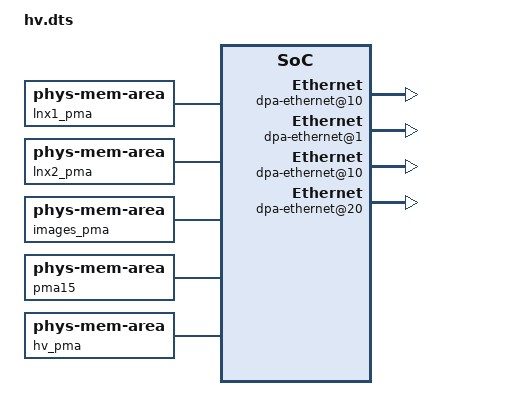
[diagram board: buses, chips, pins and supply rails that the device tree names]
/* Hypervisor Configuration tree containing all hypervisor configuration
 * parameters and partition definition information.
 * (Note -- Please refer to Hypervisor SW Reference Manual
 * (Chapter 5 Configuration) for further details)
 *
 * Copyright 2011 Freescale Semiconductor, Inc.
 */

/dts-v1/;

/ {	// root node

	// The root node of the configuration device tree must contain a
	// compatible property that identifies the device tree as a hypervisor

	compatible = "fsl,hv-config";

	// =====================================================
	// Physical Memory Areas
	// =====================================================
	lnx1_pma: lnx1_pma {
		compatible = "phys-mem-area";
		addr = <0x0 0x00000000>;	// Linux
		size = <0x0 0x40000000>;	// 1GB
	};

	lnx2_pma: lnx2_pma {
		compatible = "phys-mem-area";
		addr = <0x0 0x40000000>;	// Linux
		size = <0x0 0x20000000>;	// 512MB
	};

	images_pma: images_pma {
		compatible = "phys-mem-area";
		addr = <0x0 0x78000000>;	// Used for boot-from-RAM
		size = <0x0 0x04000000>;	// 64MB
	};

	pma15: pma15 {
		compatible = "phys-mem-area";
		addr = <0x0 0x7c000000>;	// For MAC-less Ethernet Linux1 and Linux2
		size = <0x0 0x01000000>;	// 16MB
	};

	hv_pma: hv_pma {
		compatible = "phys-mem-area";
		addr = <0x0 0x7f000000>;	// Hypervisor
		size = <0x0 0x01000000>;	// 16MB
	};

	// =====================================================
	// DMA Windows
	// =====================================================
	dma-windows {
		// DMA window for part1_linux
		dw_linux1: dw_linux1 {
			compatible = "dma-window";
			guest-addr = <0 0>;
			size = <0x1 0x00000000>; // 4GB
			subwindow-count = <4>;

			sub-window@0 {
				compatible = "dma-subwindow";
				guest-addr = <0 0>;
				size = <0 0x40000000>; // 1GB
			};

			// ====================================================
			// The window is used for MSIIR translation. The
			// hypervisor sets  a property in the guest device tree
			// (msi-address-64) which indicates the guest physical
			// address of the MSIIR register.
			// This address must be in the next page after the end
			// of DDR as seen by the guest. This is because, Linux
			// is extending the DDR ATMU with one page in order to
			// cover the MSIIR register.
			// ====================================================
			sub-window@1 {		// MSI sub-window
				compatible = "dma-subwindow";
				guest-addr = <0 0x40000000>;
				size = <0 0x1000>; // 4KB
				pcie-msi-subwindow;
			};

			sub-window@2 {		// Inter-partition region
				compatible = "dma-subwindow";
				guest-addr = <0 0x80000000>;
				size = <0 0x1000000>; // 16MB
			};
		};

		// DMA window for part2_linux
		dw_linux2: dw_linux2 {
			compatible = "dma-window";
			guest-addr = <0 0>;
			size = <0x1 0x00000000>; // 4GB
			subwindow-count = <4>;

			sub-window@0 {
				compatible = "dma-subwindow";
				guest-addr = <0 0>;
				size = <0 0x20000000>; // 512MB
			};

			sub-window@1 {		// Inter-partition region
				compatible = "dma-subwindow";
				guest-addr = <0 0x80000000>;
				size = <0 0x1000000>; // 16MB
			};
		};

		// DMA window for stash_dqrr for qman-portal0
		dw_dqrr_qportal0: window3 {
			compatible = "dma-window";
			guest-addr = <0xf 0xf4200000>;
			size = <0 0x4000>;
		};

		// DMA window for stash_dqrr for qman-portal1
		dw_dqrr_qportal1: window4 {
			compatible = "dma-window";
			guest-addr = <0xf 0xf4204000>;
			size = <0 0x4000>;
		};

		// DMA window for stash_dqrr for qman-portal2
		dw_dqrr_qportal2: window5 {
			compatible = "dma-window";
			guest-addr = <0xf 0xf4208000>;
			size = <0 0x4000>;
		};

		// DMA window for stash_dqrr for qman-portal3
		dw_dqrr_qportal3: window6 {
			compatible = "dma-window";
			guest-addr = <0xf 0xf420c000>;
			size = <0 0x4000>;
		};

		// DMA window for stash_dqrr for qman-portal4
		dw_dqrr_qportal4: window7 {
			compatible = "dma-window";
			guest-addr = <0xf 0xf4210000>;
			size = <0 0x4000>;
		};

		// DMA window for stash_dqrr for qman-portal5
		dw_dqrr_qportal5: window8 {
			compatible = "dma-window";
			guest-addr = <0xf 0xf4214000>;
			size = <0 0x4000>;
		};

		// DMA window for stash_dqrr for qman-portal6
		dw_dqrr_qportal6: window9 {
			compatible = "dma-window";
			guest-addr = <0xf 0xf4218000>;
			size = <0 0x4000>;
		};

		// DMA window for stash_dqrr for qman-portal7
		dw_dqrr_qportal7: window10 {
			compatible = "dma-window";
			guest-addr = <0xf 0xf421c000>;
			size = <0 0x4000>;
		};

		// DMA window for stash_dqrr for qman-portal8
		dw_dqrr_qportal8: window11 {
			compatible = "dma-window";
			guest-addr = <0xf 0xf4220000>;
			size = <0 0x4000>;
		};

		// DMA window for stash_dqrr for qman-portal9
		dw_dqrr_qportal9: window12 {
			compatible = "dma-window";
			guest-addr = <0xf 0xf4224000>;
			size = <0 0x4000>;
		};
	};

	// =====================================================
	// Hypervisor Config
	// Hypervisor is also configured via the Hypervisor
	// configuration tree. A special node and subtree defines
	// set of global configuration parameters and a number of
	// device nodes assigning I/O devices to the hypervisor
	// =====================================================
	hv: hypervisor-config {
		compatible = "hv-config";

		// phandle to byte-channel used for hypervisor's console
		stdout = <&hvbc>;

		hv-memory {
			compatible = "hv-memory";
			phys-mem = <&hv_pma>;
		};

		hvbc: byte-channel {
			compatible = "byte-channel";
			endpoint = <&uartmux>;
			mux-channel = <0>;
		};

		// Device nodes given below are the physical I/O
		// devices assigned to hypervisor
		corenet-law {
			device = "/soc/corenet-law";
		};

		cpc {
			device = "/soc/l3-cache-controller";
		};

		corenet-cf {
			device = "/soc/corenet-cf";
		};

		guts {
			device = "/soc/global-utilities@e0000";
		};

		rcpm {
			device = "/soc/global-utilities@e2000";
		};

		iommu {
			device = "/soc/iommu";
		};

		mpic {
			device = "/soc/pic@40000";
		};

		serial0: serial0 {
			device = "serial0";
		};

		serial1: serial1 {
			device = "serial1";
		};

		serial2: serial2 {
			device = "serial2";
		};

		serial3: serial3 {
			device = "serial3";
		};
	};

	// =====================================================
	// UART mux
	// This node is referenced by byte-channels that use mux
	// as an endpoint
	// =====================================================
	uartmux: uartmux {
		compatible = "byte-channel-mux";
		endpoint = <&serial0>;
	};

	// =====================================================
	// To keep the scenarios hv-1/2/4p as diff-able as possible
	// we always use labels part1, part2, part<n>
	// In hv-2p scenario, there are 2 partitions - 2 Linux
	// Partition1 --- part1 --- Linux partition
	// Partition2 --- part2 --- Linux partition
	// =====================================================

	// =====================================================
	// Partition 1
	// =====================================================
	part1 {
		// Indicates that it is a partition node
		compatible = "partition";
		label = "p1-linux";
		// CPUs #0 to #6 are assigned to this partition
		cpus = <0 7>;
		guest-image = <0xf 0xe8020000 0 0 0 0x700000>;
		linux-rootfs = <0xf 0xe9300000 0 0x01300000 0 0x02800000>;
		dtb-window = <0 0x1000000 0 0x12000>;

		// Temporary until Linux uses enable LIODN hcall
		no-dma-disable;

		gpma0 {
			compatible = "guest-phys-mem-area";
			phys-mem = <&lnx1_pma>;
			guest-addr = <0 0>;
		};

		gpma1 {
			compatible = "guest-phys-mem-area";
			phys-mem = <&pma15>;	// Interpartition between Linux1 - Linux2
			guest-addr = <0 0x80000000>;
			node-update {
				delete-prop = "device_type";
			};
		};

		aliases {
			stdout = <&part1_bc0>;
		};

		// =====================================================
		// Devices assigned to the partition - device nodes
		// device node is child of partition node and is used to
		// assign physical I/O devices to partition
		// =====================================================
		part1_bc0: byte-channel@1 {
			compatible = "byte-channel";
			endpoint = <&uartmux>;
			mux-channel = <1>;
		};

		// Bman portals assigned to this partition
		bman-portal@0 {
			device = "/bman-portals/bman-portal@0";
		};

		bman-portal@4000 {
			device = "/bman-portals/bman-portal@4000";
		};

		bman-portal@8000 {
			device = "/bman-portals/bman-portal@8000";
		};

		bman-portal@c000 {
			device = "/bman-portals/bman-portal@c000";
		};

		bman-portal@10000 {
			device = "/bman-portals/bman-portal@10000";
		};

		bman-portal@14000 {
			device = "/bman-portals/bman-portal@14000";
		};

		bman-portal@18000 {
			device = "/bman-portals/bman-portal@18000";
		};

		bman-portal@20000 {
			device = "/bman-portals/bman-portal@20000";
		};

		bman-portal@24000 {
			device = "/bman-portals/bman-portal@24000";
		};

		// Bman buffer pools assigned to this partition
		buffer-pool@7 {
			device = "buffer-pool@7";
		};

		buffer-pool@8 {
			device = "buffer-pool@8";
		};

		buffer-pool@9 {
			device = "buffer-pool@9";
		};

		qman-portal@0 {
			device = "/qman-portals@ff4200000/qman-portal@0";

			stash-mem {
				liodn-index = <1>;
				dma-window = <&dw_linux1>;
				operation-mapping = <0>;
				stash-dest = <3>;
			};

			stash-dqrr {
				liodn-index = <0>;
				dma-window = <&dw_dqrr_qportal0>;
				operation-mapping = <0>;
				stash-dest = <3>;
			};
		};

		qman-portal@4000 {
			device = "/qman-portals@ff4200000/qman-portal@4000";

			stash-mem {
				liodn-index = <1>;
				dma-window = <&dw_linux1>;
				operation-mapping = <0>;
				stash-dest = <3>;
			};

			stash-dqrr {
				liodn-index = <0>;
				dma-window = <&dw_dqrr_qportal1>;
				operation-mapping = <0>;
				stash-dest = <3>;
			};
		};

		qman-portal@8000 {
			device = "/qman-portals@ff4200000/qman-portal@8000";

			stash-mem {
				liodn-index = <1>;
				dma-window = <&dw_linux1>;
				operation-mapping = <0>;
				stash-dest = <3>;
			};

			stash-dqrr {
				liodn-index = <0>;
				dma-window = <&dw_dqrr_qportal2>;
				operation-mapping = <0>;
				stash-dest = <3>;
			};
		};

		qman-portal@c000 {
			device = "/qman-portals@ff4200000/qman-portal@c000";

			stash-mem {
				liodn-index = <1>;
				dma-window = <&dw_linux1>;
				operation-mapping = <0>;
				stash-dest = <3>;
			};

			stash-dqrr {
				liodn-index = <0>;
				dma-window = <&dw_dqrr_qportal3>;
				operation-mapping = <0>;
				stash-dest = <3>;
			};
		};

		qman-portal@10000 {
			device = "/qman-portals@ff4200000/qman-portal@10000";

			stash-mem {
				liodn-index = <1>;
				dma-window = <&dw_linux1>;
				operation-mapping = <0>;
				stash-dest = <3>;
			};

			stash-dqrr {
				liodn-index = <0>;
				dma-window = <&dw_dqrr_qportal4>;
				operation-mapping = <0>;
				stash-dest = <3>;
			};
		};

		qman-portal@14000 {
			device = "/qman-portals@ff4200000/qman-portal@14000";

			stash-mem {
				liodn-index = <1>;
				dma-window = <&dw_linux1>;
				operation-mapping = <0>;
				stash-dest = <3>;
			};

			stash-dqrr {
				liodn-index = <0>;
				dma-window = <&dw_dqrr_qportal5>;
				operation-mapping = <0>;
				stash-dest = <3>;
			};
		};

		qman-portal@18000 {
			device = "/qman-portals@ff4200000/qman-portal@18000";

			stash-mem {
				liodn-index = <1>;
				dma-window = <&dw_linux1>;
				operation-mapping = <0>;
				stash-dest = <3>;
			};

			stash-dqrr {
				liodn-index = <0>;
				dma-window = <&dw_dqrr_qportal6>;
				operation-mapping = <0>;
				stash-dest = <3>;
			};
		};

		qman-portal@20000 {
			device = "/qman-portals@ff4200000/qman-portal@20000";

			stash-mem {
				liodn-index = <1>;
				dma-window = <&dw_linux1>;
				operation-mapping = <0>;
				stash-dest = <3>;
			};

			stash-dqrr {
				liodn-index = <0>;
				dma-window = <&dw_dqrr_qportal8>;
				operation-mapping = <0>;
				stash-dest = <3>;
			};
		};

		qman-portal@24000 {
			device = "/qman-portals@ff4200000/qman-portal@24000";

			stash-mem {
				liodn-index = <1>;
				dma-window = <&dw_linux1>;
				operation-mapping = <0>;
				stash-dest = <3>;
			};

			stash-dqrr {
				liodn-index = <0>;
				dma-window = <&dw_dqrr_qportal9>;
				operation-mapping = <0>;
				stash-dest = <3>;
			};
		};

		memory-controller@8000 {
			device = "/soc/memory-controller@8000";
		};

		memory-controller@9000 {
			device = "/soc/memory-controller@9000";
		};

		msi0: msi@41600 {
			device = "msi0";
		};

		msi2: msi@41a00 {
			device = "msi2";
		};

		dma0 {
			device = "dma0";
			dma-window = <&dw_linux1>;
		};

		sdhc {
			device = "sdhc";
			dma-window = <&dw_linux1>;
		};

		i2c@118000 {
			device = "/soc/i2c@118000";
		};

		i2c@118100 {
			device = "/soc/i2c@118100";
		};

		flash {
			device = "/localbus";
		};

		gpio {
			device = "/soc/gpio";
		};

		pci0 {
			device = "pci0";
			map-ranges;
			dma-window = <&dw_linux1>;
			node-update-phandle {
				fsl,msi = <&msi0>;
			};
		};

		pci2 {
			device = "pci2";
			map-ranges;
			dma-window = <&dw_linux1>;
			node-update-phandle {
				fsl,msi = <&msi2>;
			};
		};

		usb0 {
			device = "usb0";
			dma-window = <&dw_linux1>;
		};

		crypto {
			device = "/soc/crypto";
			dma-window = <&dw_linux1>;
		};

		pme {
			device = "pme";
			dma-window = <&dw_linux1>;
		};

		qman {
			device = "qman";
			dma-window = <&dw_linux1>;
			operation-mapping = <2>;	// OMI_QMAN_PRIV
			stash-dest = <3>;		// L3/CPC
		};

		bman {
			device = "bman";
			dma-window = <&dw_linux1>;
		};

		fman0 {
			device = "fman0";
			dma-window = <&dw_linux1>;
		};

		fman1 {
			device = "fman1";
			dma-window = <&dw_linux1>;
		};

		// FMAN0 eth4 - XAUI 10G -- ethernet 4 assigned to this partition
		dpa-ethernet@4 {
			device = "/fsl,dpaa/ethernet@4";
		};

		// FMAN0 RGMII -- ethernet 1 assigned to this partition
		dpa-ethernet@1 {
			device = "/fsl,dpaa/ethernet@1";
		};

		// FMAN1 SGMII -- ethernet 7 assigned to this partition
		dpa-ethernet@7 {
			device = "/fsl,dpaa/ethernet@7";
		};

		// FMAN1 SGMII -- ethernet 8 assigned to this partition
		dpa-ethernet@8 {
			device = "/fsl,dpaa/ethernet@8";
		};

		// FMAN1 XAUI -- ethernet 9 assigned to this partition
		dpa-ethernet@9 {
			device = "/fsl,dpaa/ethernet@9";
		};

		portal-devices {
			fman0 {
				device = "fman0";
				dma-window = <&dw_linux1>;
			};

			fman1 {
				device = "fman1";
				dma-window = <&dw_linux1>;
			};

			caam {
				device = "crypto";
				dma-window = <&dw_linux1>;
			};

			pme {
				device = "pme";
				dma-window = <&dw_linux1>;
			};
		};

		node-update {
			part1_bp10: buffer-pool@10 {
				compatible = "fsl,p4080-bpool", "fsl,bpool";
				fsl,bpid = <10>;
				fsl,bpool-ethernet-cfg = <0 0x80 0 192 0 0x80000000>;
				fsl,bpool-ethernet-seeds;
			};

			part1_bp11: buffer-pool@11 {
				compatible = "fsl,p4080-bpool", "fsl,bpool";
				fsl,bpid = <11>;
				fsl,bpool-ethernet-cfg = <0 0x80 0 576 0 0x80006000>;
				fsl,bpool-ethernet-seeds;
			};

			part1_bp12: buffer-pool@12 {
				compatible = "fsl,p4080-bpool", "fsl,bpool";
				fsl,bpid = <12>;
				fsl,bpool-ethernet-cfg = <0 0x80 0 1600 0 0x80018000>;
				fsl,bpool-ethernet-seeds;
			};

			part1_bp13: buffer-pool@13 {
				compatible = "fsl,p4080-bpool", "fsl,bpool";
				fsl,bpid = <13>;
				fsl,bpool-ethernet-cfg = <0 0x80 0 192 0 0x8004A000>;
				fsl,bpool-ethernet-seeds;
			};

			part1_bp14: buffer-pool@14 {
				compatible = "fsl,p4080-bpool", "fsl,bpool";
				fsl,bpid = <14>;
				fsl,bpool-ethernet-cfg = <0 0x80 0 576 0 0x80050000>;
				fsl,bpool-ethernet-seeds;
			};

			part1_bp15: buffer-pool@15 {
				compatible = "fsl,p4080-bpool", "fsl,bpool";
				fsl,bpid = <15>;
				fsl,bpool-ethernet-cfg = <0 0x80 0 1600 0 0x80062000>;
				fsl,bpool-ethernet-seeds;
			};

			// Add a subnode dpa-ethernet@10 in fsl,dpaa node in GDT
			fsl,dpaa {
				// Link with Linux2 (MAC-less)
				dpa-ethernet@10 {
					compatible = "fsl,p4080-dpa-ethernet", "fsl,dpa-ethernet";
					fsl,qman-frame-queues-rx = <0x4000 8>;
					fsl,qman-frame-queues-tx = <0x4008 8>;
					local-mac-address = [02 00 c0 a8 6f fe];
				};

				// Shared with Linux2 (Shared-MAC)
				// The interface has to be set to promiscuous mode!
				dpa-ethernet@1 {
					compatible = "fsl,p4080-dpa-ethernet", "fsl,dpa-ethernet";
					fsl,qman-frame-queues-rx = <0x230 1 0x231 1 0x210 3>;
					fsl,qman-frame-queues-tx = <0x234 1 0x238 1 0x200 8>;
				};
			};

			chosen {
				bootargs = "usdpaa_mem=64M";
			};
		};

		// Add properties with phandle values to the node dpa-ethernet@10
		node-update-phandle {
			fsl,dpaa {
				dpa-ethernet@10 {
					fsl,bman-buffer-pools = <&part1_bp10 &part1_bp11 &part1_bp12>;
				};

				dpa-ethernet@1 {
					fsl,bman-buffer-pools = <&part1_bp13 &part1_bp14 &part1_bp15>;
				};
			};
		};

		dpa-fman0-oh@1 {
			device = "/fsl,dpaa/dpa-fman0-oh@1";
		};

		bman-bpids {
			device = "/bman-portals@ff4000000/bman-bpids@0";

			node-update {
				fsl,bpid-range = <32 16>;
			};
		};

		qman-fqids {
			device = "/qman-portals@ff4200000/qman-fqids@0";

			node-update {
				fsl,fqid-range = <0x180 0x80>;
			};
		};

		qman-pools {
			device = "/qman-portals@ff4200000/qman-pools@0";

			node-update {
				fsl,pool-channel-range = <41 7>;
			};
		};

		qman-cgrids {
			device = "/qman-portals@ff4200000/qman-cgrids@0";

			node-update {
				fsl,cgrid-range = <0x80 0x80>;
			};
		};
	};

	// =====================================================
	// Partition 2
	// =====================================================
	part2 {
		compatible = "partition";
		label = "p2-linux";
		// CPU #7 is assigned to this partition
		cpus = <7 1>;
		guest-image = <0xf 0xe8020000 0 0 0 0x700000>;
		linux-rootfs = <0xf 0xe9300000 0 0x01300000 0 0x02800000>;
		dtb-window = <0 0x1000000 0 0x12000>;

		// Temporary until Linux uses enable LIODN hcall
		no-dma-disable;

		gpma0 {
			compatible = "guest-phys-mem-area";
			phys-mem = <&lnx2_pma>;
			guest-addr = <0 0>;
		};

		gpma1 {
			compatible = "guest-phys-mem-area";
			phys-mem = <&pma15>;	// Interpartition between Linux1 - Linux2
			guest-addr = <0 0x80000000>;
			node-update {
				delete-prop = "device_type";
			};
		};

		aliases {
			stdout = <&part2_bc0>;
		};

		// =====================================================
		// Devices assigned to the partition - device nodes
		// device node is child of partition node and is used to
		// assign physical I/O devices to partition
		// =====================================================
		part2_bc0: byte-channel@2 {
			compatible = "byte-channel";
			endpoint = <&uartmux>;
			mux-channel = <2>;
		};

		bman-portal@1c000 {
			device = "/bman-portals/bman-portal@1c000";
			node-update {
				delete-prop = "fsl,usdpaa-portal";
			};

		};

		part2_qportal7: qman-portal@1c000 {
			device = "/qman-portals@ff4200000/qman-portal@1c000";

			node-update {
				delete-prop = "fsl,usdpaa-portal";
				delete-node = "pme@0", "crypto@0";
			};

			stash-mem {
				liodn-index = <1>;
				dma-window = <&dw_linux2>;
				operation-mapping = <0>;
				stash-dest = <3>;
			};

			stash-dqrr {
				liodn-index = <0>;
				dma-window = <&dw_dqrr_qportal7>;
				operation-mapping = <0>;
				stash-dest = <3>;
			};
		};

		// =====================================================
		// In Shared-MAC scenario, PAMU is using Fman's LIODN in 
		// order to authorize tranzactions for the second 
		// partition, thus the fman node have to be included in 
		// the second partition, so that PAMU to be configured 
		// accordingly.
		// =====================================================
		portal-devices {
			fman0 {
				device = "fman0";
				dma-window = <&dw_linux2>;
			};

			fman1 {
				device = "fman1";
				dma-window = <&dw_linux2>;
			};
		};

		dma1 {
			device = "dma1";
			dma-window = <&dw_linux2>;
		};

		i2c@119000 {
			device = "/soc/i2c@119000";
		};

		i2c@119100 {
			device = "/soc/i2c@119100";
		};

		node-update {
			// =====================================================
			// Even though it's part1 that seeds these buffer pools,
			// their "fsl,bpool-ethernet-cfg" properties must match
			// those in part1 exactly, since the resulting buffer
			// addresses will be exchanged between the partitions
			// through QMan, via FDs, without further translation.
			// Furthermore, the addresses must be mapable in both
			// guests, and, when mapped on either guest,
			// each should point to the same physical memory,
			// otherwise a segfault/machine check will occur.
			// =====================================================
			part2_bp10: buffer-pool@10 {
				compatible = "fsl,p4080-bpool", "fsl,bpool";
				fsl,bpid = <10>;
				fsl,bpool-ethernet-cfg = <0 0x80 0 192 0 0x80000000>;
			};

			part2_bp11: buffer-pool@11 {
				compatible = "fsl,p4080-bpool", "fsl,bpool";
				fsl,bpid = <11>;
				fsl,bpool-ethernet-cfg = <0 0x80 0 576 0 0x80006000>;
			};

			part2_bp12: buffer-pool@12 {
				compatible = "fsl,p4080-bpool", "fsl,bpool";
				fsl,bpid = <12>;
				fsl,bpool-ethernet-cfg = <0 0x80 0 1600 0 0x80018000>;
			};

			part2_bp13: buffer-pool@13 {
				compatible = "fsl,p4080-bpool", "fsl,bpool";
				fsl,bpid = <13>;
				fsl,bpool-ethernet-cfg = <0 0x80 0 192 0 0x8004A000>;
			};

			part2_bp14: buffer-pool@14 {
				compatible = "fsl,p4080-bpool", "fsl,bpool";
				fsl,bpid = <14>;
				fsl,bpool-ethernet-cfg = <0 0x80 0 576 0 0x80050000>;
			};

			part2_bp15: buffer-pool@15 {
				compatible = "fsl,p4080-bpool", "fsl,bpool";
				fsl,bpid = <15>;
				fsl,bpool-ethernet-cfg = <0 0x80 0 1600 0 0x80062000>;
			};

			fsl,dpaa {
				compatible = "fsl,p4080-dpaa", "fsl,dpaa";

				// =====================================================
				// Link with Linux1 (MAC-less)
				// The TX/RX queues of this interface are same with the
				// RX/TX queues of the interface dpa-ethernet@10 in
				// partition 1
				// =====================================================
				dpa-ethernet@10 {
					compatible = "fsl,p4080-dpa-ethernet", "fsl,dpa-ethernet";
					fsl,qman-frame-queues-rx = <0x4008 8>;
					fsl,qman-frame-queues-tx = <0x4000 8>;
					local-mac-address = [02 00 c0 a8 79 fe];
				};

				// =====================================================
				// Shared with Linux1 (Shared-MAC)
				// The TX queues of this interface are the same with the
				// TX queues of the interface dpa-ethernet@1 in
				// partition 1; the RX queues are different
				// =====================================================
				dpa-ethernet@20 {
					compatible = "fsl,p4080-dpa-ethernet", "fsl,dpa-ethernet";
					fsl,qman-frame-queues-rx = <0x220 3>;
					fsl,qman-frame-queues-tx = <0x200 8>;
					delete-prop = "fsl,fman-mac";
					local-mac-address = [02 00 c0 a8 a1 fe];
				};
			};
			chosen {
				bootargs = "usdpaa_mem=64M";
			};
		};

		node-update-phandle {
			fsl,dpaa {
				dpa-ethernet@10 {
					fsl,bman-buffer-pools = <&part2_bp10 &part2_bp11 &part2_bp12>;
				};

				dpa-ethernet@20 {
					fsl,bman-buffer-pools = <&part2_bp13 &part2_bp14 &part2_bp15>;
				};
			};
		};

		bman-bpids {
			device = "/bman-portals@ff4000000/bman-bpids@0";

			node-update {
				fsl,bpid-range = <48 16>;
			};
		};

		qman-fqids {
			device = "/qman-portals@ff4200000/qman-fqids@0";

			node-update {
				fsl,fqid-range = <0x100 0x80>;
			};
		};

		qman-pools {
			device = "/qman-portals@ff4200000/qman-pools@0";

			node-update {
				fsl,pool-channel-range = <33 8>;
			};
		};

		qman-cgrids {
			device = "/qman-portals@ff4200000/qman-cgrids@0";

			node-update {
				fsl,cgrid-range = <0 0x80>;
			};
		};
	};
};
